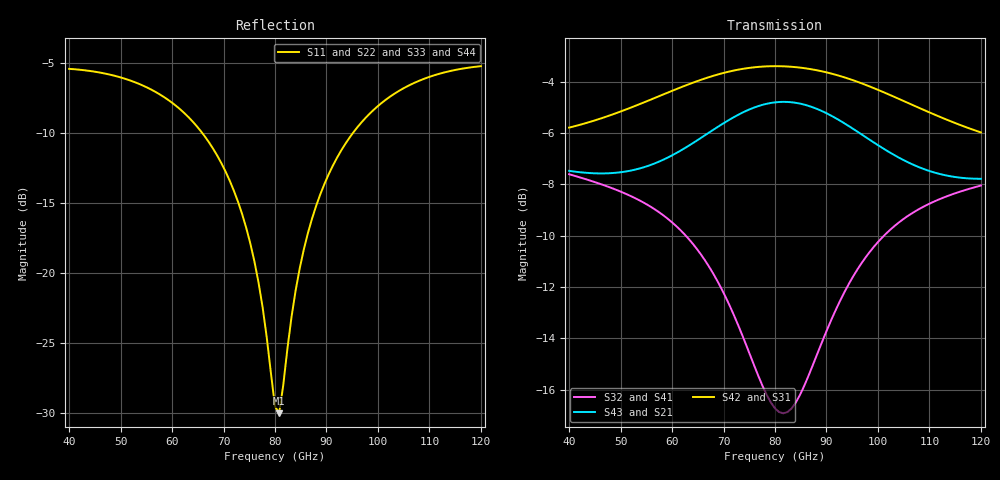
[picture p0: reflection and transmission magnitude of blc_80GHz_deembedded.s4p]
! Created with skrf 2.2.0 (http://scikit-rf.org).
# GHz S DB R 50.0
! Port[1] = P1
! Port[2] = P2
! Port[3] = P3
! Port[4] = P4
!freq dBS11 angS11 dBS12 angS12 dBS13 angS13
! dBS14 angS14
! dBS21 angS21 dBS22 angS22 dBS23 angS23
! dBS24 angS24
! dBS31 angS31 dBS32 angS32 dBS33 angS33
! dBS34 angS34
! dBS41 angS41 dBS42 angS42 dBS43 angS43
! dBS44 angS44
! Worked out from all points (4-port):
!   101 points, 40 GHz to 120 GHz, reference 50 ohm
!   strongest paths, dB at 40 GHz, 60 GHz, 80 GHz, 100 GHz, 120 GHz:
!     S42: -5.8, -4.4, -3.4, -4.3, -6.0
!     S31: -5.8, -4.4, -3.4, -4.3, -6.0
!     S43: -7.5, -6.9, -4.8, -6.5, -7.8
!     S21: -7.5, -6.9, -4.8, -6.5, -7.8
!     S32: -7.6, -9.5, -16.7, -10.3, -8.1
!     S41: -7.6, -9.5, -16.7, -10.2, -8.0
!   lowest |S11| = -30.0 dB at 80.8 GHz (marker M1), VSWR 1.07, Z = 53.2 - j0.693 ohm
!   |S11| at or under -10 dB: 65.83 GHz to 95.17 GHz (29.35 GHz wide, 36.5 % of centre)
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40  -5.44 159.2  -7.48 -46.6  -5.79 -80.3  -7.61 -62.4
    -7.48 -46.6  -5.43 159.1  -7.61 -62.4  -5.79 -80.3
    -5.79 -80.3  -7.61 -62.4  -5.43 159.1  -7.48 -46.6
    -7.61 -62.4  -5.79 -80.3  -7.48 -46.6  -5.44 159.2
68  -11.15 110.6  -5.88 -68.3  -3.78 -144.7  -11.49 -107.8
    -5.88 -68.3  -11.14 110.3  -11.48 -107.9  -3.78 -144.7
    -3.78 -144.7  -11.48 -107.9  -11.14 110.4  -5.88 -68.3
    -11.49 -107.8  -3.78 -144.7  -5.88 -68.3  -11.16 110.6
75.2  -17.90 87.5  -5.07 -80.5  -3.46 -164.8  -14.67 -110.9
      -5.07 -80.5  -17.86 86.8  -14.68 -111.1  -3.46 -164.8
      -3.46 -164.8  -14.68 -111.1  -17.86 86.9  -5.07 -80.5
      -14.67 -110.9  -3.46 -164.8  -5.07 -80.5  -17.90 87.4
80.8  -30.03 -11.9  -4.79 -92.0  -3.40 179.1  -16.85 -95.5
      -4.79 -92.0  -29.56 -11.3  -16.88 -95.6  -3.40 179.1
      -3.40 179.1  -16.88 -95.6  -29.60 -11.2  -4.80 -92.1
      -16.85 -95.5  -3.40 179.1  -4.80 -92.1  -29.96 -12.2
85.6  -18.33 -86.3  -4.89 -102.2  -3.48 165.3  -15.86 -77.5
      -4.89 -102.2  -18.29 -85.4  -15.89 -77.5  -3.48 165.3
      -3.48 165.3  -15.89 -77.5  -18.30 -85.5  -4.89 -102.3
      -15.86 -77.5  -3.48 165.3  -4.89 -102.3  -18.30 -86.2
92.8  -11.30 -109.7  -5.54 -115.8  -3.79 145.1  -12.46 -73.8
      -5.54 -115.8  -11.29 -109.3  -12.48 -73.7  -3.79 145.1
      -3.79 145.1  -12.48 -73.7  -11.29 -109.3  -5.54 -115.9
      -12.46 -73.8  -3.79 145.1  -5.54 -115.9  -11.29 -109.7
120  -5.25 -157.9  -7.78 -140.2  -5.98 81.0  -8.05 -117.1
     -7.78 -140.2  -5.24 -157.8  -8.05 -117.1  -5.98 81.0
     -5.98 81.0  -8.05 -117.1  -5.24 -157.8  -7.79 -140.2
     -8.05 -117.1  -5.98 81.0  -7.79 -140.2  -5.24 -158.0
